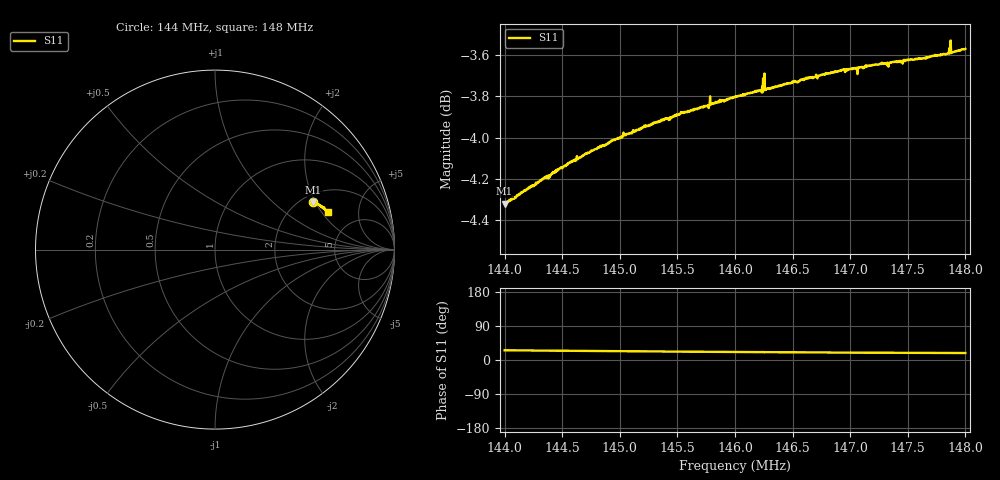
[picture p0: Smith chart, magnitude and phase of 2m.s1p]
! Calibrated averaged scanner-service zoom
# Hz S RI R 50
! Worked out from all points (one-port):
!   1001 points, 144 MHz to 148 MHz, reference 50 ohm
!   lowest |S11| = -4.3 dB at 144 MHz (marker M1), VSWR 4.10, Z = 116 + j96.2 ohm
!   |S11| at or under -10 dB: nowhere
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1.44e8  0.5485 0.2624
1.44192e8  0.5547 0.261
1.445e8  0.5644 0.2571
1.44596e8  0.5677 0.2557
1.4476e8  0.5728 0.2532
1.45e8  0.5794 0.2496
1.45212e8  0.5855 0.2461
1.455e8  0.5918 0.2409
1.45756e8  0.5969 0.2369
1.458e8  0.598 0.2363
1.46e8  0.6018 0.2333
1.4622e8  0.6056 0.2298
1.46224e8  0.6056 0.2296
1.46232e8  0.6052 0.2291
1.46236e8  0.6075 0.2292
1.46256e8  0.6137 0.2258
1.46276e8  0.6065 0.2289
1.4628e8  0.6067 0.2289
1.465e8  0.6107 0.2258
1.47e8  0.6182 0.2185
1.47168e8  0.6204 0.2162
1.475e8  0.6238 0.2123
1.47636e8  0.625 0.211
1.47756e8  0.6262 0.2103
1.47836e8  0.627 0.2098
1.4788e8  0.6278 0.2098
1.47896e8  0.6279 0.2096
1.48e8  0.6291 0.2093
